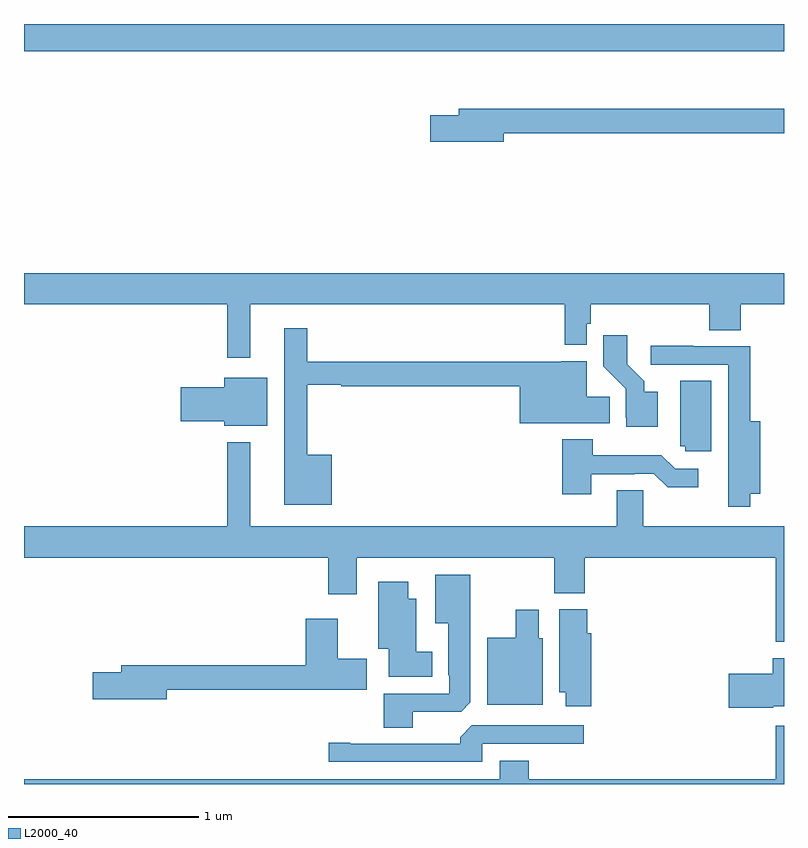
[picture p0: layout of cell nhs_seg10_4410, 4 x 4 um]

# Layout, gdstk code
import gdstk
lib = gdstk.Library(unit=1e-6, precision=1e-09)
def R(c, l, rs):  # rectangles x0, y0, x1, y1
    for r in rs: c.add(gdstk.rectangle(r[:2], r[2:], *l))
def P(c, l, *ps):  # polygons
    for p in ps: c.add(gdstk.Polygon(p, *l))
L2000_40 = (2000, 40)

nhs_seg10_4410 = lib.new_cell('nhs_seg10_4410')
R(nhs_seg10_4410, L2000_40, [(361,1260.356,365,1260.5)])
P(nhs_seg10_4410, L2000_40, [(363.526,1259.926),(365,1259.926),(365,1260.055),(363.287,1260.055),(363.287,1260.021),(363.138,1260.021),(363.138,1259.879),(363.526,1259.879)],
  [(362.191,1259.024),(363.847,1259.024),(363.847,1258.811),(363.963,1258.811),(363.963,1258.923),(363.983,1258.923),(363.983,1259.024),(364.607,1259.024),(364.607,1258.888),(364.772,1258.888),(364.772,1259.024),(365,1259.024),(365,1259.188),(361,1259.188),(361,1259.024),(362.07,1259.024),(362.07,1258.743),(362.191,1258.743)],
  [(362.62,1258.234),(362.491,1258.234),(362.491,1258.602),(362.669,1258.602),(362.669,1258.594),(363.608,1258.594),(363.608,1258.4),(364.082,1258.4),(364.082,1258.538),(363.961,1258.538),(363.961,1258.726),(363.828,1258.726),(363.828,1258.723),(362.491,1258.723),(362.491,1258.9),(362.369,1258.9),(362.369,1257.971),(362.62,1257.971)],
  [(364.336,1258.564),(364.264,1258.564),(364.264,1258.619),(364.174,1258.709),(364.174,1258.861),(364.048,1258.861),(364.048,1258.698),(364.167,1258.579),(364.167,1258.428),(364.169,1258.428),(364.169,1258.379),(364.336,1258.379)],
  [(364.823,1258.028),(364.874,1258.028),(364.874,1258.408),(364.823,1258.408),(364.823,1258.803),(364.523,1258.803),(364.523,1258.806),(364.299,1258.806),(364.299,1258.707),(364.707,1258.707),(364.707,1257.96),(364.823,1257.96)],
  [(362.281,1258.639),(362.054,1258.639),(362.054,1258.587),(361.824,1258.587),(361.824,1258.409),(362.054,1258.409),(362.054,1258.385),(362.281,1258.385)],
  [(364.618,1258.622),(364.454,1258.622),(364.454,1258.278),(364.479,1258.278),(364.479,1258.251),(364.618,1258.251)],
  [(363.985,1258.131),(364.214,1258.131),(364.214,1258.134),(364.314,1258.134),(364.387,1258.061),(364.549,1258.061),(364.549,1258.158),(364.428,1258.158),(364.355,1258.231),(363.993,1258.231),(363.993,1258.315),(363.833,1258.315),(363.833,1258.026),(363.985,1258.026)],
  [(365,1257.856),(364.26,1257.856),(364.26,1258.046),(364.121,1258.046),(364.121,1257.856),(362.191,1257.856),(362.191,1258.3),(362.07,1258.3),(362.07,1257.856),(361,1257.856),(361,1257.692),(362.6,1257.692),(362.6,1257.498),(362.752,1257.498),(362.752,1257.692),(363.79,1257.692),(363.79,1257.505),(363.95,1257.505),(363.95,1257.692),(364.956,1257.692),(364.956,1257.248),(365,1257.248)],
  [(363.046,1256.88),(363.3,1256.88),(363.349,1256.929),(363.349,1257.601),(363.164,1257.601),(363.164,1257.347),(363.233,1257.347),(363.233,1257.073),(363.237,1257.073),(363.237,1256.976),(362.894,1256.976),(362.894,1256.797),(363.046,1256.797)],
  [(363.148,1257.196),(363.064,1257.196),(363.064,1257.475),(363.022,1257.475),(363.022,1257.565),(362.864,1257.565),(362.864,1257.212),(362.921,1257.212),(362.921,1257.065),(363.148,1257.065)],
  [(363.986,1257.294),(363.965,1257.294),(363.965,1257.42),(363.818,1257.42),(363.818,1256.984),(363.851,1256.984),(363.851,1256.91),(363.986,1256.91)],
  [(363.73,1257.267),(363.709,1257.267),(363.709,1257.418),(363.587,1257.418),(363.587,1257.271),(363.437,1257.271),(363.437,1256.918),(363.73,1256.918)],
  [(361.75,1256.997),(362.499,1256.997),(362.499,1256.996),(362.803,1256.996),(362.803,1257.159),(362.65,1257.159),(362.65,1257.37),(362.483,1257.37),(362.483,1257.125),(361.511,1257.125),(361.511,1257.089),(361.362,1257.089),(361.362,1256.947),(361.75,1256.947)],
  [(364.944,1256.909),(365,1256.909),(365,1257.163),(364.94,1257.163),(364.94,1257.08),(364.71,1257.08),(364.71,1256.902),(364.944,1256.902)],
  [(363.411,1256.712),(363.946,1256.712),(363.946,1256.808),(363.357,1256.808),(363.296,1256.746),(363.296,1256.712),(362.716,1256.712),(362.716,1256.717),(362.604,1256.717),(362.604,1256.616),(363.411,1256.616)],
  [(365,1256.806),(364.956,1256.806),(364.956,1256.524),(363.656,1256.524),(363.656,1256.623),(363.503,1256.623),(363.503,1256.524),(361,1256.524),(361,1256.5),(365,1256.5)])

lib.write_gds('nhs_seg10_4410.gds')
